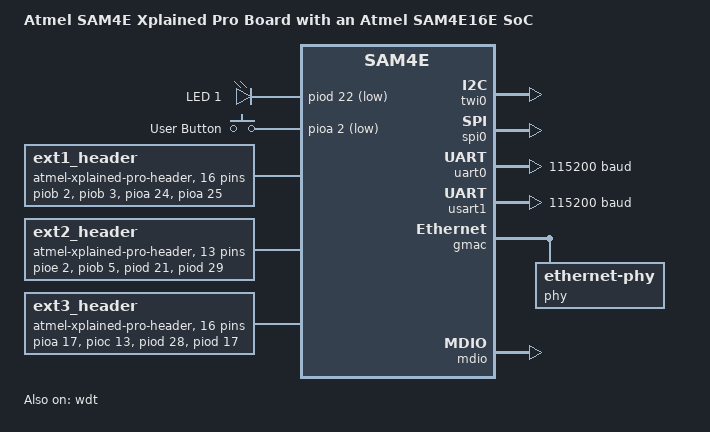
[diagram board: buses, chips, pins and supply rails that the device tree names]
/*
 * Copyright (c) 2019 Gerson Fernando Budke
 *
 * SPDX-License-Identifier: Apache-2.0
 */

/dts-v1/;

#include <atmel/sam4e16e.dtsi>
#include "sam4e_xpro-pinctrl.dtsi"

/ {
	model = "Atmel SAM4E Xplained Pro Board with an Atmel SAM4E16E SoC";
	compatible = "atmel,sam4e_xpro", "atmel,sam4e16e", "atmel,sam4e";

	aliases {
		i2c-0 = &twi0;
		led0 = &yellow_led_1;
		sw0 = &user_button;
		wdog = &wdt;
	};

	chosen {
		zephyr,console = &uart0;
		zephyr,shell-uart = &uart0;
		zephyr,sram = &sram0;
		zephyr,flash = &flash0;
	};

	leds {
		compatible = "gpio-leds";
		yellow_led_1: led_1 {
			gpios = <&piod 22 GPIO_ACTIVE_LOW>;
			label = "LED 1";
		};
	};

	gpio_keys {
		compatible = "gpio-keys";
		user_button: button_1 {
			label = "User Button";
			gpios = <&pioa 2 (GPIO_PULL_UP |
					   GPIO_ACTIVE_LOW)>;
		};
	};

	ext1_header: xplained-pro-connector1 {
		compatible = "atmel-xplained-pro-header";
		#gpio-cells = <2>;
		gpio-map-mask = <0xffffffff 0xffffffc0>;
		gpio-map-pass-thru = <0 0x3f>;		/*           Shared */
		gpio-map =	<0  0 &piob  2 0>,	/* AFE AD0          */
				<1  0 &piob  3 0>,	/* AFE AD1          */
				<2  0 &pioa 24 0>,	/* GPIO             */
				<3  0 &pioa 25 0>,	/* GPIO             */
				<4  0 &pioa 15 0>,	/* TIOA1            */
				<5  0 &pioa 16 0>,	/* TIOB1            */
				<6  0 &pioa 11 0>,	/* WKUP7            */
				<7  0 &piod 25 0>,	/* GPIO             */
				<8  0 &pioa  3 0>,	/* TWD0        EXTx */
				<9  0 &pioa  4 0>,	/* TWCK0       EXTx */
				<10 0 &pioa 21 0>,	/* RXD1             */
				<11 0 &pioa 22 0>,	/* TXD1             */
				<12 0 &piob 14 0>,	/* SPI(NPCS1)       */
				<13 0 &pioa 13 0>,	/* SPI(MOSI)   EXTx */
				<14 0 &pioa 12 0>,	/* SPI(MISO)   EXTx */
				<15 0 &pioa 14 0>;	/* SPI(SCK)    EXTx */
							/* GND              */
							/* +3.3V            */
	};

	ext2_header: xplained-pro-connector2 {
		compatible = "atmel-xplained-pro-header";
		#gpio-cells = <2>;
		gpio-map-mask = <0xffffffff 0xffffffc0>;
		gpio-map-pass-thru = <0 0x3f>;		/*           Shared */
		gpio-map =    /*<0  0 -      - 0>,	   -                */
			      /*<1  0 -      - 0>,	   -                */
				<2  0 &pioe  2 0>,	/* GPIO        EBDG */
				<3  0 &piob  5 0>,	/* GPIO        EDBG */
				<4  0 &piod 21 0>,	/* PWMHI1           */
			      /*<5  0 -      - 0>,	   -                */
				<6  0 &piod 29 0>,	/* GPIO        ETH  */
				<7  0 &piob  4 0>,	/* GPIO             */
				<8  0 &pioa  3 0>,	/* TWD0        EXTx */
				<9  0 &pioa  4 0>,	/* TWCK0       EXTx */
				<10 0 &pioa  5 0>,	/* URXD1       EXT3 */
				<11 0 &pioa  6 0>,	/* UTXD1       EXT3 */
				<12 0 &piod 23 0>,	/* GPIO             */
				<13 0 &pioa 13 0>,	/* SPI(MOSI)   EXTx */
				<14 0 &pioa 12 0>,	/* SPI(MISO)   EXTx */
				<15 0 &pioa 14 0>;	/* SPI(SCK)    EXTx */
							/* GND              */
							/* +3.3V            */
	};

	ext3_header: xplained-pro-connector3 {
		compatible = "atmel-xplained-pro-header";
		#gpio-cells = <2>;
		gpio-map-mask = <0xffffffff 0xffffffc0>;
		gpio-map-pass-thru = <0 0x3f>;		/*           Shared */
		gpio-map =	<0  0 &pioa 17 0>,	/* AFE AD0          */
				<1  0 &pioc 13 0>,	/* AFE AD6          */
				<2  0 &piod 28 0>,	/* GPIO             */
				<3  0 &piod 17 0>,	/* GPIO             */
				<4  0 &piod 20 0>,	/* PWMH0            */
				<5  0 &piod 24 0>,	/* PWML0            */
				<6  0 &pioe  1 0>,	/* GPIO             */
				<7  0 &piod 26 0>,	/* GPIO             */
				<8  0 &pioa  3 0>,	/* TWD0        EXTx */
				<9  0 &pioa  4 0>,	/* TWCK0       EXTx */
				<10 0 &pioa  5 0>,	/* URXD1       EXT2 */
				<11 0 &pioa  6 0>,	/* UTXD1       EXT2 */
				<12 0 &piod 30 0>,	/* GPIO             */
				<13 0 &pioa 13 0>,	/* SPI(MOSI)   EXTx */
				<14 0 &pioa 12 0>,	/* SPI(MISO)   EXTx */
				<15 0 &pioa 14 0>;	/* SPI(SCK)    EXTx */
							/* GND              */
							/* +3.3V            */
	};
};

&cpu0 {
	clock-frequency = <120000000>;
};

&twi0 {
	status = "okay";

	pinctrl-0 = <&twi0_default>;
	pinctrl-names = "default";
};

&spi0 {
	status = "okay";

	pinctrl-0 = <&spi0_default>;
	pinctrl-names = "default";

	cs-gpios = <&piob 14 GPIO_ACTIVE_LOW>,
		   <&piod 23 GPIO_ACTIVE_LOW>,
		   <&piod 30 GPIO_ACTIVE_LOW>;
};

&uart0 {
	status = "okay";
	current-speed = <115200>;

	pinctrl-0 = <&uart0_default>;
	pinctrl-names = "default";
};

&uart1 {
	pinctrl-0 = <&uart1_default>;
	pinctrl-names = "default";
};

&usart1 {
	status = "okay";
	current-speed = <115200>;

	pinctrl-0 = <&usart1_default>;
	pinctrl-names = "default";
};

&gmac {
	status = "okay";

	pinctrl-0 = <&gmac_mii>;
	pinctrl-names = "default";

	zephyr,random-mac-address;

	phy: phy {
		compatible = "ethernet-phy";
		status = "okay";
		address = <0>;
		mdio = <&mdio>;
	};
};

&mdio {
	status = "okay";

	pinctrl-0 = <&mdio_default>;
	pinctrl-names = "default";
};

&wdt {
	status = "okay";
};

ext1_spi: &spi0 {
};

ext1_i2c: &twi0 {
};

ext1_serial: &usart1 {
};

ext2_spi: &spi0 {
};

ext2_i2c: &twi0 {
};

ext2_serial: &uart1 {
};

ext3_spi: &spi0 {
};

ext3_i2c: &twi0 {
};

ext3_serial: &uart1 {
};
